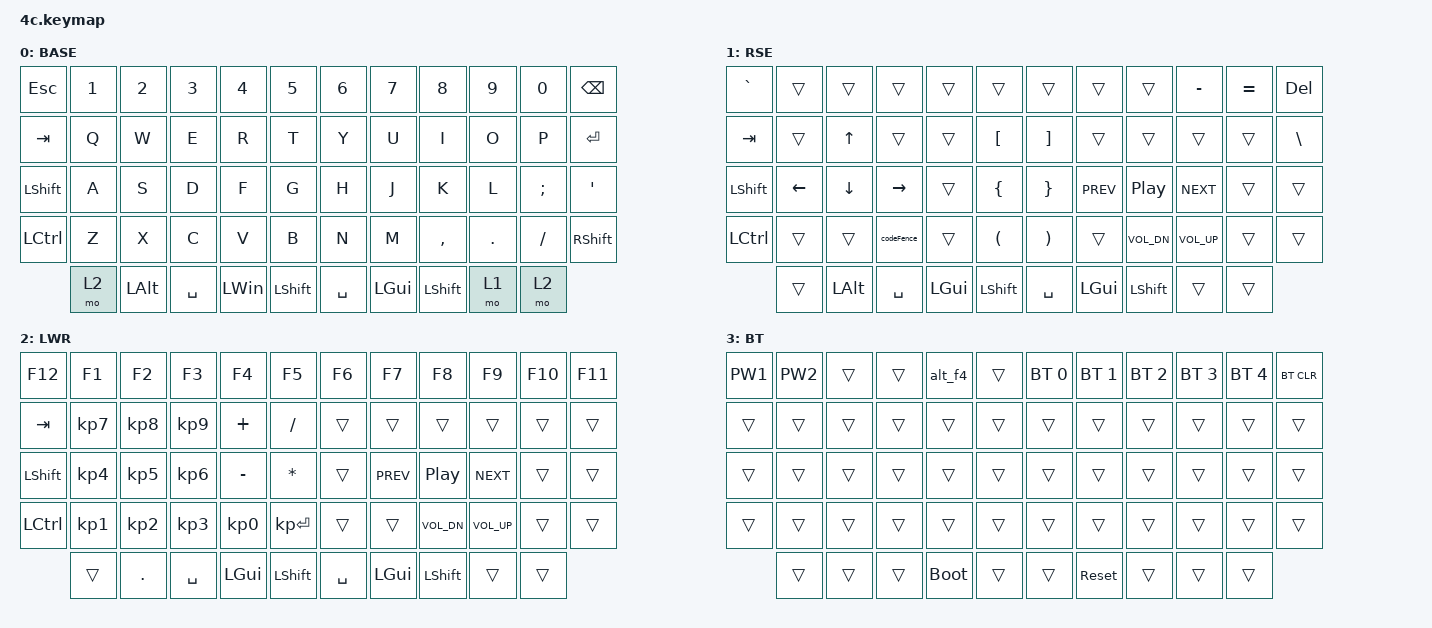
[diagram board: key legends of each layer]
/*
 * Copyright (c) 2020 The ZMK Contributors
 *
 * SPDX-License-Identifier: MIT
 */
/* THIS FILE WAS GENERATED!
 *
 * This file was generated automatically. You may or may not want to
 * edit it directly.
 */

#include <behaviors.dtsi>
#include <dt-bindings/zmk/bt.h>
#include <dt-bindings/zmk/keys.h>

/ {
    combos {
        compatible = "zmk,combos";

        btMo {
            bindings = <&mo 3>;
            key-positions = <56 57>;
        };
    };

    macros {
        codeFence: codeFence {
            compatible = "zmk,behavior-macro";
            label = "new_macro";
            #binding-cells = <0>;
            bindings =
                <&kp GRAVE &kp GRAVE &kp GRAVE &kp RET &kp RET &kp GRAVE &kp GRAVE &kp GRAVE &kp UP>,
                <&macro_press>;
        };
        alt_f4: alt_f4 {
            compatible = "zmk,behavior-macro";
            label = "ALT_F4";
            #binding-cells = <0>;
            bindings = <&kp LALT &kp F4>;
        };
        PW1: PW1 {
            compatible = "zmk,behavior-macro";
            label = "PW1";
            #binding-cells = <0>;
            bindings = <&kp N4 &kp N1 &kp N3 &kp N5 &kp N9 &kp N2 &kp N4 &kp N1 &kp N3 &kp N6>;
        };
        PW2: PW2 {
            compatible = "zmk,behavior-macro";
            label = "PW2";
            #binding-cells = <0>;
            bindings = <&kp N8 &kp N4 &kp N3 &kp N3 &kp N6 &kp N8 &kp N6 &kp N4 &kp N6>;
        };
    };

    keymap {
        compatible = "zmk,keymap";

        BASE {
            bindings = <
       &kp ESC  &kp NUMBER_1  &kp NUMBER_2  &kp NUMBER_3    &kp NUMBER_4  &kp NUMBER_5    &kp NUMBER_6  &kp NUMBER_7  &kp NUMBER_8    &kp NUMBER_9  &kp NUMBER_0    &kp BACKSPACE
       &kp TAB         &kp Q         &kp W         &kp E           &kp R         &kp T           &kp Y         &kp U         &kp I           &kp O         &kp P        &kp ENTER
&kp LEFT_SHIFT         &kp A         &kp S         &kp D           &kp F         &kp G           &kp H         &kp J         &kp K           &kp L      &kp SEMI         &kp APOS
     &kp LCTRL         &kp Z         &kp X         &kp C           &kp V         &kp B           &kp N         &kp M     &kp COMMA      &kp PERIOD     &kp SLASH  &kp RIGHT_SHIFT
         &mo 2  &kp LEFT_ALT     &kp SPACE  &kp LEFT_WIN  &kp LEFT_SHIFT                                   &kp SPACE  &kp LEFT_GUI  &kp LEFT_SHIFT         &mo 1            &mo 2
            >;
        };

        RSE {
            bindings = <
     &kp GRAVE        &trans     &trans        &trans          &trans                &trans                   &trans      &trans        &trans       &kp MINUS  &kp EQUAL     &kp DELETE
       &kp TAB        &trans     &kp UP        &trans          &trans      &kp LEFT_BRACKET        &kp RIGHT_BRACKET      &trans        &trans          &trans     &trans  &kp BACKSLASH
&kp LEFT_SHIFT      &kp LEFT   &kp DOWN     &kp RIGHT          &trans        &kp LEFT_BRACE          &kp RIGHT_BRACE  &kp C_PREV      &kp C_PP      &kp C_NEXT     &trans         &trans
     &kp LCTRL        &trans     &trans    &codeFence          &trans  &kp LEFT_PARENTHESIS    &kp RIGHT_PARENTHESIS      &trans  &kp C_VOL_DN    &kp C_VOL_UP     &trans         &trans
        &trans  &kp LEFT_ALT  &kp SPACE  &kp LEFT_GUI  &kp LEFT_SHIFT                                                  &kp SPACE  &kp LEFT_GUI  &kp LEFT_SHIFT     &trans         &trans
            >;
        };

        LWR {
            bindings = <
       &kp F12           &kp F1           &kp F2           &kp F3           &kp F4        &kp F5    &kp F6      &kp F7            &kp F8          &kp F9  &kp F10  &kp F11
       &kp TAB  &kp KP_NUMBER_7  &kp KP_NUMBER_8  &kp KP_NUMBER_9         &kp PLUS     &kp SLASH    &trans      &trans            &trans          &trans   &trans   &trans
&kp LEFT_SHIFT  &kp KP_NUMBER_4  &kp KP_NUMBER_5  &kp KP_NUMBER_6        &kp MINUS  &kp ASTERISK    &trans  &kp C_PREV  &kp C_PLAY_PAUSE      &kp C_NEXT   &trans   &trans
     &kp LCTRL  &kp KP_NUMBER_1  &kp KP_NUMBER_2  &kp KP_NUMBER_3  &kp KP_NUMBER_0  &kp KP_ENTER    &trans      &trans      &kp C_VOL_DN    &kp C_VOL_UP   &trans   &trans
        &trans          &kp DOT        &kp SPACE     &kp LEFT_GUI   &kp LEFT_SHIFT                           &kp SPACE      &kp LEFT_GUI  &kp LEFT_SHIFT   &trans   &trans
            >;
        };

        BT {
            bindings = <
  &PW1    &PW2  &trans       &trans  &alt_f4  &trans    &bt BT_SEL 0  &bt BT_SEL 1  &bt BT_SEL 2  &bt BT_SEL 3  &bt BT_SEL 4  &bt BT_CLR
&trans  &trans  &trans       &trans   &trans  &trans          &trans        &trans        &trans        &trans        &trans      &trans
&trans  &trans  &trans       &trans   &trans  &trans          &trans        &trans        &trans        &trans        &trans      &trans
&trans  &trans  &trans       &trans   &trans  &trans          &trans        &trans        &trans        &trans        &trans      &trans
&trans  &trans  &trans  &bootloader   &trans                                &trans    &sys_reset        &trans        &trans      &trans
            >;
        };
    };
};
